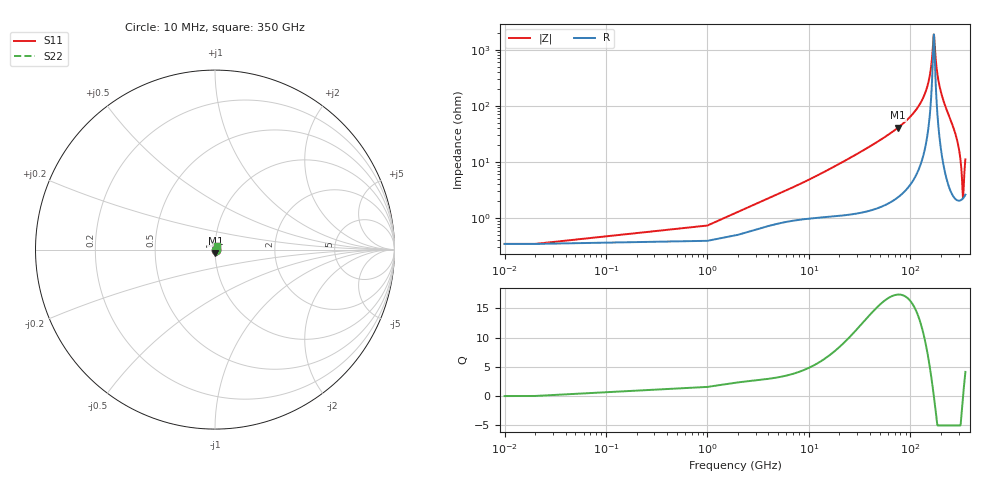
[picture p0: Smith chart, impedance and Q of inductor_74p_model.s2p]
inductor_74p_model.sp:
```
* WIDEBAND RFIC INDUCTOR MODEL WITH SUBSTRATE NETWORK
* Created using inductor_fit.py from inductor_74p.s2p
* Fit band 0.010 to 204.000 GHz, 3 coil segment(s)
* Total element values:
*   Rs = 0.347256
*   Ls = 6.88557e-11
*   Rskin1 = 0.695967
*   Lskin1 = 2.97205e-11
*   Rskin2 = 1.93449
*   Lskin2 = 2.55548e-12
*   Cs = 1e-19
*   Cox1 = 1.49625e-14
*   Rsi1 = 0.139324
*   Csi1 = 2.86739e-19
*   Cox2 = 1.49625e-14
*   Rsi2 = 0.139324
*   Csi2 = 2.86739e-19
*
.SUBCKT inductor_model p1 p2
* coil segment 1
Rs_1 p1 a1 0.115752
Ls_1 a1 b1 2.29519e-11
Rskin1_1 b1 d1 0.231989
Lskin1_1 b1 d1 9.90683e-12
Rskin2_1 d1 c1 0.644831
Lskin2_1 d1 c1 8.51827e-13
* coil segment 2
Rs_2 c1 a2 0.115752
Ls_2 a2 b2 2.29519e-11
Rskin1_2 b2 d2 0.231989
Lskin1_2 b2 d2 9.90683e-12
Rskin2_2 d2 c2 0.644831
Lskin2_2 d2 c2 8.51827e-13
* coil segment 3
Rs_3 c2 a3 0.115752
Ls_3 a3 b3 2.29519e-11
Rskin1_3 b3 d3 0.231989
Lskin1_3 b3 d3 9.90683e-12
Rskin2_3 d3 p2 0.644831
Lskin2_3 d3 p2 8.51827e-13
Cs p1 p2 1e-19
* substrate network at p1
Cox_n0 p1 s0 4.98749e-15
Rsi_n0 s0 0 0.417972
Csi_n0 s0 0 9.55796e-20
* substrate network at c1
Cox_n1 c1 s1 9.97498e-15
Rsi_n1 s1 0 0.208986
Csi_n1 s1 0 1.91159e-19
* substrate network at c2
Cox_n2 c2 s2 9.97498e-15
Rsi_n2 s2 0 0.208986
Csi_n2 s2 0 1.91159e-19
* substrate network at p2
Cox_n3 p2 s3 4.98749e-15
Rsi_n3 s3 0 0.417972
Csi_n3 s3 0 9.55796e-20
.ENDS
```
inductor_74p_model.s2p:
! Inductor model fitted by inductor_fit.py from inductor_74p.s2p
#  Hz  S  RI  R  50
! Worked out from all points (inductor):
!   352 points, 10 MHz to 350 GHz, reference 50 ohm
!   read as 1/Y11, port 2 shorted: L = 77.9 pH near 5 GHz
!   highest Q = 17.3 at 76 GHz (marker M1), where L = 85.7 pH
!   self-resonance near 171.1 GHz
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1e7  0.00346 1.62e-05  0.9965 -0.00011  0.9965 -0.00011  0.00346 1.62e-05
3e9  0.00627 0.00255  0.9933 -0.0307  0.9933 -0.0307  0.00627 0.00255
8e9  0.00923 0.000238  0.9879 -0.0754  0.9879 -0.0754  0.00923 0.000238
7.6e10  0.00259 -0.0195  0.7543 -0.6312  0.7543 -0.6312  0.00259 -0.0195
1.28e11  -0.00471 -0.0197  0.3792 -0.9011  0.3792 -0.9011  -0.00471 -0.0197
1.76e11  0.000751 -0.015  -0.0445 -0.9722  -0.0445 -0.9722  0.000751 -0.015
2.29e11  0.0133 -0.0205  -0.5034 -0.8278  -0.5034 -0.8278  0.0133 -0.0205
2.86e11  0.00998 -0.0267  -0.8605 -0.435  -0.8605 -0.435  0.00998 -0.0267
3.14e11  0.00412 -0.0155  -0.9454 -0.1771  -0.9454 -0.1771  0.00412 -0.0155
3.32e11  0.0041 -0.000366  -0.96 0.000933  -0.96 0.000933  0.0041 -0.000366
3.5e11  0.011 0.0202  -0.9402 0.1819  -0.9402 0.1819  0.011 0.0202
